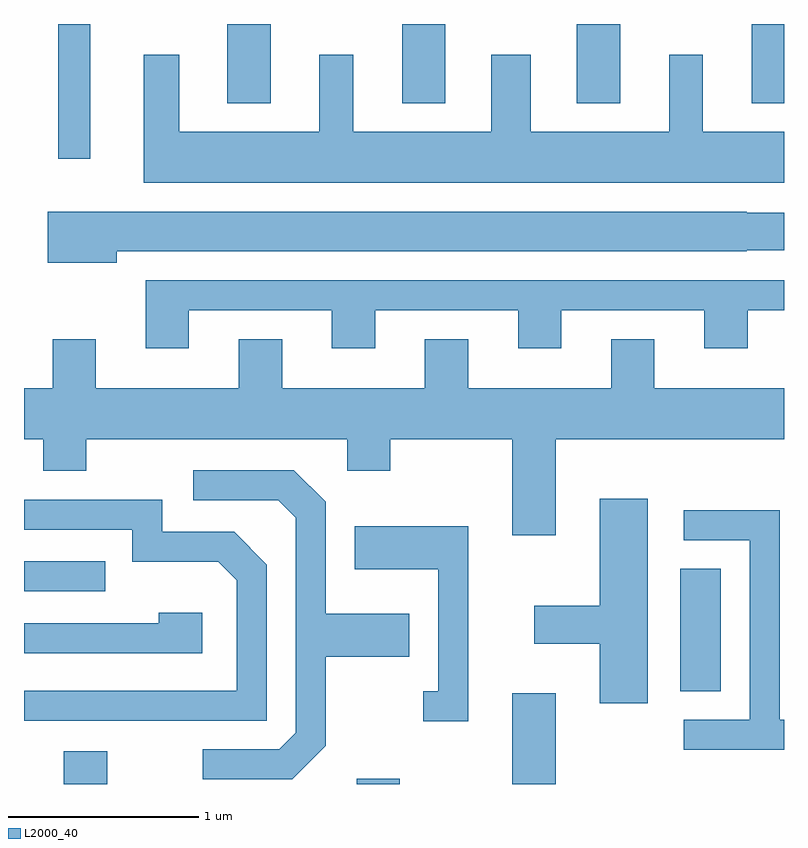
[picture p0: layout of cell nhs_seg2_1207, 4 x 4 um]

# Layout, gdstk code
import gdstk
lib = gdstk.Library(unit=1e-6, precision=1e-09)
def R(c, l, rs):  # rectangles x0, y0, x1, y1
    for r in rs: c.add(gdstk.rectangle(r[:2], r[2:], *l))
def A(c, l, x, y, w, h, nx, ny, dx, dy):  # array of equal rectangles
    R(c, l, [(x+i*dx, y+j*dy, x+i*dx+w, y+j*dy+h) for i in range(nx) for j in range(ny)])
def P(c, l, *ps):  # polygons
    for p in ps: c.add(gdstk.Polygon(p, *l))
L2000_40 = (2000, 40)

nhs_seg2_1207 = lib.new_cell('nhs_seg2_1207')
A(nhs_seg2_1207, L2000_40, 220.681, 1083.386, 0.228, 0.416, 3, 1, 0.92, 0)
R(nhs_seg2_1207, L2000_40, [(219.821,1079.802,220.049,1079.974), (221.361,1079.802,221.589,1079.829), (222.181,1079.802,222.409,1080.279), (223.066,1080.291,223.279,1080.934), (219.611,1080.816,220.038,1080.974), (219.791,1083.093,219.959,1083.802), (223.441,1083.386,223.611,1083.802)])
P(nhs_seg2_1207, L2000_40, [(223.611,1083.234),(223.184,1083.234),(223.184,1083.639),(223.006,1083.639),(223.006,1083.234),(222.279,1083.234),(222.279,1083.639),(222.071,1083.639),(222.071,1083.234),(221.344,1083.234),(221.344,1083.639),(221.166,1083.639),(221.166,1083.234),(220.429,1083.234),(220.429,1083.639),(220.241,1083.639),(220.241,1082.966),(223.611,1082.966)],
  [(220.099,1082.606),(223.415,1082.606),(223.415,1082.611),(223.611,1082.611),(223.611,1082.809),(223.415,1082.809),(223.415,1082.814),(219.736,1082.814),(219.736,1082.546),(220.099,1082.546)],
  [(220.479,1082.296),(221.231,1082.296),(221.231,1082.096),(221.459,1082.096),(221.459,1082.296),(222.211,1082.296),(222.211,1082.096),(222.439,1082.096),(222.439,1082.296),(223.191,1082.296),(223.191,1082.096),(223.419,1082.096),(223.419,1082.296),(223.611,1082.296),(223.611,1082.454),(220.251,1082.454),(220.251,1082.096),(220.479,1082.096)],
  [(222.409,1081.616),(223.611,1081.616),(223.611,1081.884),(222.929,1081.884),(222.929,1082.144),(222.701,1082.144),(222.701,1081.884),(221.949,1081.884),(221.949,1082.144),(221.721,1082.144),(221.721,1081.884),(220.969,1081.884),(220.969,1082.144),(220.741,1082.144),(220.741,1081.884),(219.989,1081.884),(219.989,1082.144),(219.761,1082.144),(219.761,1081.884),(219.611,1081.884),(219.611,1081.616),(219.711,1081.616),(219.711,1081.451),(219.939,1081.451),(219.939,1081.616),(221.311,1081.616),(221.311,1081.451),(221.539,1081.451),(221.539,1081.616),(222.181,1081.616),(222.181,1081.111),(222.409,1081.111)],
  [(221.199,1080.004),(221.199,1080.471),(221.639,1080.471),(221.639,1080.699),(221.199,1080.699),(221.199,1081.287),(221.032,1081.454),(220.503,1081.454),(220.503,1081.296),(220.949,1081.296),(221.041,1081.204),(221.041,1080.072),(220.954,1079.984),(220.553,1079.984),(220.553,1079.826),(221.022,1079.826)],
  [(222.894,1081.304),(222.641,1081.304),(222.641,1080.739),(222.296,1080.739),(222.296,1080.541),(222.641,1080.541),(222.641,1080.226),(222.894,1080.226)],
  [(220.889,1080.957),(220.717,1081.129),(220.339,1081.129),(220.339,1081.299),(219.611,1081.299),(219.611,1081.141),(220.181,1081.141),(220.181,1080.971),(220.634,1080.971),(220.731,1080.874),(220.731,1080.294),(219.611,1080.294),(219.611,1080.136),(220.889,1080.136)],
  [(223.611,1080.139),(223.589,1080.139),(223.589,1081.244),(223.083,1081.244),(223.083,1081.086),(223.431,1081.086),(223.431,1080.139),(223.083,1080.139),(223.083,1079.981),(223.611,1079.981)],
  [(221.949,1081.159),(221.351,1081.159),(221.351,1080.931),(221.791,1080.931),(221.791,1080.289),(221.713,1080.289),(221.713,1080.131),(221.949,1080.131)],
  [(220.549,1080.704),(220.321,1080.704),(220.321,1080.649),(219.611,1080.649),(219.611,1080.491),(220.549,1080.491)])

lib.write_gds('nhs_seg2_1207.gds')
